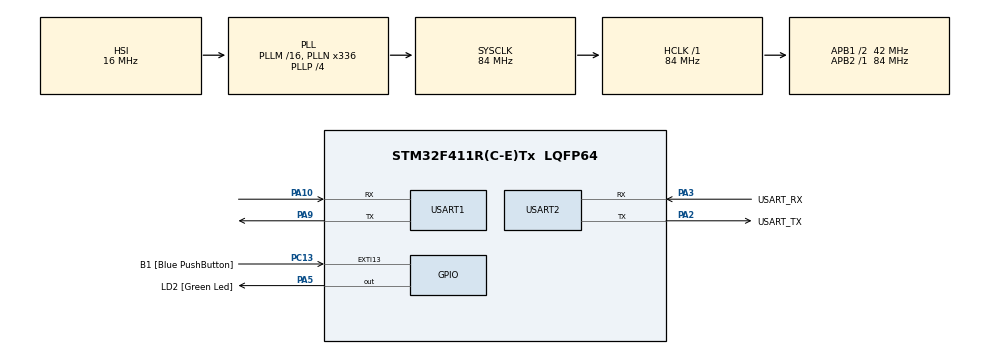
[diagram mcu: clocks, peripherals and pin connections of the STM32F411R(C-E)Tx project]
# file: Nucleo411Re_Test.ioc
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FREERTOS.Tasks01=defaultTask,24,256,StartDefaultTask,Default,NULL,Dynamic,NULL,NULL
Mcu.Family=STM32F4
Mcu.Name=STM32F411R(C-E)Tx
Mcu.Package=LQFP64
NVIC.PriorityGroup=NVIC_PRIORITYGROUP_4
NVIC.USART1_IRQn=true\:5\:0\:false\:false\:true\:true\:true\:true
NVIC.USART2_IRQn=true\:5\:0\:false\:false\:true\:true\:true\:true
PA10.Mode=Asynchronous
PA10.Signal=USART1_RX
PA13.GPIO_Label=TMS
PA13.Mode=Serial_Wire
PA13.Signal=SYS_JTMS-SWDIO
PA14.GPIO_Label=TCK
PA14.Mode=Serial_Wire
PA14.Signal=SYS_JTCK-SWCLK
PA2.GPIO_Label=USART_TX
PA2.Mode=Asynchronous
PA2.Signal=USART2_TX
PA3.GPIO_Label=USART_RX
PA3.Mode=Asynchronous
PA3.Signal=USART2_RX
PA5.GPIO_Label=LD2 [Green Led]
PA5.Signal=GPIO_Output
PA9.Mode=Asynchronous
PA9.Signal=USART1_TX
PB3.GPIO_Label=SWO
PB3.Signal=SYS_JTDO-SWO
PC13-ANTI_TAMP.GPIO_Label=B1 [Blue PushButton]
PC13-ANTI_TAMP.GPIO_ModeDefaultEXTI=GPIO_MODE_IT_FALLING
PC13-ANTI_TAMP.Signal=GPXTI13
PC14-OSC32_IN.Mode=LSE-External-Oscillator
PC14-OSC32_IN.Signal=RCC_OSC32_IN
PC15-OSC32_OUT.Mode=LSE-External-Oscillator
PC15-OSC32_OUT.Signal=RCC_OSC32_OUT
PH0\ -\ OSC_IN.Mode=HSE-External-Clock-Source
PH0\ -\ OSC_IN.Signal=RCC_OSC_IN
PH1\ -\ OSC_OUT.Mode=HSE-External-Clock-Source
PH1\ -\ OSC_OUT.Signal=RCC_OSC_OUT
ProjectManager.HeapSize=0x400
ProjectManager.StackSize=0x800
ProjectManager.TargetToolchain=STM32CubeIDE
RCC.48MHZClocksFreq_Value=84000000
RCC.AHBFreq_Value=84000000
RCC.APB1CLKDivider=RCC_HCLK_DIV2
RCC.APB1Freq_Value=42000000
RCC.APB1TimFreq_Value=84000000
RCC.APB2Freq_Value=84000000
RCC.APB2TimFreq_Value=84000000
RCC.CortexFreq_Value=84000000
RCC.FLatency-AdvancedSettings=FLASH_LATENCY_2
RCC.HCLKFreq_Value=84000000
RCC.HSE_VALUE=8000000
RCC.HSI_VALUE=16000000
RCC.PLLN=336
RCC.PLLP=RCC_PLLP_DIV4
RCC.SYSCLKFreq_VALUE=84000000
RCC.SYSCLKSource=RCC_SYSCLKSOURCE_PLLCLK
RCC.VCOOutputFreq_Value=336000000
USART1.VirtualMode=VM_ASYNC
USART2.VirtualMode=VM_ASYNC
VP_FREERTOS_VS_CMSIS_V2.Mode=CMSIS_V2
board=NUCLEO-F411RE

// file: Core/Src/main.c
/* USER CODE BEGIN Header */
/**
 ******************************************************************************
 * @file           : main.c
 * @brief          : Main program body
 ******************************************************************************
 * @attention
 *
 * <h2><center>&copy; Copyright (c) 2021 STMicroelectronics.
 * All rights reserved.</center></h2>
 *
 * This software component is licensed by ST under BSD 3-Clause license,
 * the "License"; You may not use this file except in compliance with the
 * License. You may obtain a copy of the License at:
 *                        opensource.org/licenses/BSD-3-Clause
 *
 ******************************************************************************
 */
/* USER CODE END Header */
#include "main.h"
#include "cmsis_os.h"
#include "usart.h"
#include "gpio.h"
#include <stdio.h>

void SystemClock_Config(void);
void MX_FREERTOS_Init(void);

int main(void)
{

	/* MCU Configuration--------------------------------------------------------*/

	/* Reset of all peripherals, Initializes the Flash interface and the Systick. */
	HAL_Init();

	/* Configure the system clock */
	SystemClock_Config();

	/* Initialize all configured peripherals */
	MX_GPIO_Init();
	MX_USART2_UART_Init();
	MX_USART1_UART_Init();
	/* USER CODE BEGIN 2 */

	HAL_UART_Receive_IT(&huart1, &rxData, 1);
	HAL_UART_Receive_IT(&huart2, &rxData, 1);

	Print1Str("\r\n>> STM32F411RE-NUCLEO START");

	/* USER CODE END 2 */

	/* Init scheduler */
	osKernelInitialize();  /* Call init function for freertos objects (in freertos.c) */
	MX_FREERTOS_Init();
	/* Start scheduler */
	osKernelStart();

	/* We should never get here as control is now taken by the scheduler */
	/* Infinite loop */
	while (1)
	{

	}
}

void SystemClock_Config(void)
{
	RCC_OscInitTypeDef RCC_OscInitStruct = {0};
	RCC_ClkInitTypeDef RCC_ClkInitStruct = {0};

	/** Configure the main internal regulator output voltage
	 */
	__HAL_RCC_PWR_CLK_ENABLE();
	__HAL_PWR_VOLTAGESCALING_CONFIG(PWR_REGULATOR_VOLTAGE_SCALE1);
	/** Initializes the RCC Oscillators according to the specified parameters
	 * in the RCC_OscInitTypeDef structure.
	 */
	RCC_OscInitStruct.OscillatorType = RCC_OSCILLATORTYPE_HSI;
	RCC_OscInitStruct.HSIState = RCC_HSI_ON;
	RCC_OscInitStruct.HSICalibrationValue = RCC_HSICALIBRATION_DEFAULT;
	RCC_OscInitStruct.PLL.PLLState = RCC_PLL_ON;
	RCC_OscInitStruct.PLL.PLLSource = RCC_PLLSOURCE_HSI;
	RCC_OscInitStruct.PLL.PLLM = 16;
	RCC_OscInitStruct.PLL.PLLN = 336;
	RCC_OscInitStruct.PLL.PLLP = RCC_PLLP_DIV4;
	RCC_OscInitStruct.PLL.PLLQ = 4;
	if (HAL_RCC_OscConfig(&RCC_OscInitStruct) != HAL_OK)
	{
		Error_Handler();
	}
	/** Initializes the CPU, AHB and APB buses clocks
	 */
	RCC_ClkInitStruct.ClockType = RCC_CLOCKTYPE_HCLK|RCC_CLOCKTYPE_SYSCLK
			|RCC_CLOCKTYPE_PCLK1|RCC_CLOCKTYPE_PCLK2;
	RCC_ClkInitStruct.SYSCLKSource = RCC_SYSCLKSOURCE_PLLCLK;
	RCC_ClkInitStruct.AHBCLKDivider = RCC_SYSCLK_DIV1;
	RCC_ClkInitStruct.APB1CLKDivider = RCC_HCLK_DIV2;
	RCC_ClkInitStruct.APB2CLKDivider = RCC_HCLK_DIV1;

	if (HAL_RCC_ClockConfig(&RCC_ClkInitStruct, FLASH_LATENCY_2) != HAL_OK)
	{
		Error_Handler();
	}
}

void Error_Handler(void)
{
	__disable_irq();
	while (1)
	{
	}
}

/************************ (C) COPYRIGHT STMicroelectronics *****END OF FILE****/

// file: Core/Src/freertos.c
/* USER CODE BEGIN Header */
/**
 ******************************************************************************
 * File Name          : freertos.c
 * Description        : Code for freertos applications
 ******************************************************************************
 * @attention
 *
 * <h2><center>&copy; Copyright (c) 2021 STMicroelectronics.
 * All rights reserved.</center></h2>
 *
 * This software component is licensed by ST under Ultimate Liberty license
 * SLA0044, the "License"; You may not use this file except in compliance with
 * the License. You may obtain a copy of the License at:
 *                             www.st.com/SLA0044
 *
 ******************************************************************************
 */
/* USER CODE END Header */

#include "FreeRTOS.h"
#include "task.h"
#include "main.h"
#include "cmsis_os.h"
#include "ucmd2.h"
#include <stdio.h>

/* USER CODE BEGIN Variables */
osThreadId_t defaultTaskHandle;
const osThreadAttr_t task100ms_attributes = {
		.name = "Task100ms",
		.stack_size = 256 * 2,
		.priority = (osPriority_t) osPriorityNormal1,
};

/* USER CODE END Variables */
/* Definitions for defaultTask */
osThreadId_t task100msHandle;
const osThreadAttr_t defaultTask_attributes = {
		.name = "defaultTask",
		.stack_size = 256 * 4,
		.priority = (osPriority_t) osPriorityNormal,
};

/* USER CODE BEGIN FunctionPrototypes */
void Task100ms(void* argument);

/* USER CODE END FunctionPrototypes */

void StartDefaultTask(void *argument);

void MX_FREERTOS_Init(void); /* (MISRA C 2004 rule 8.1) */

void MX_FREERTOS_Init(void) {

	/* Create the thread(s) */
	/* creation of defaultTask */
	defaultTaskHandle = osThreadNew(StartDefaultTask, NULL, &defaultTask_attributes);

	/* USER CODE BEGIN RTOS_THREADS */
	task100msHandle = osThreadNew(Task100ms, NULL, &task100ms_attributes);
	/* add threads, ... */
	/* USER CODE END RTOS_THREADS */

}

/* USER CODE BEGIN Header_StartDefaultTask */
/**
 * @brief  Function implementing the defaultTask thread.
 * @param  argument: Not used
 * @retval None
 */
uint16_t g_integer;
/* USER CODE END Header_StartDefaultTask */
void StartDefaultTask(void *argument)
{

	/* USER CODE BEGIN StartDefaultTask */
	/* Infinite loop */
	for(;;)
	{
		//		HAL_GPIO_TogglePin(LD2_GPIO_Port, GPIO_PIN_5);
		printf("\r\n%d", g_integer++);
		osDelay(1000);
	}
	/* USER CODE END StartDefaultTask */
}

/* USER CODE BEGIN Application */
void Task100ms(void* argument)
{
	uint8_t data[200] = "123456789012345678901234567890123456789012345678901234567890";
	for(;;)
	{
		HAL_GPIO_TogglePin(LD2_GPIO_Port, GPIO_PIN_5);
		UartTxPutchar(data, sizeof(data));
		osDelay(100);
	}
}
/* USER CODE END Application */

/************************ (C) COPYRIGHT STMicroelectronics *****END OF FILE****/
